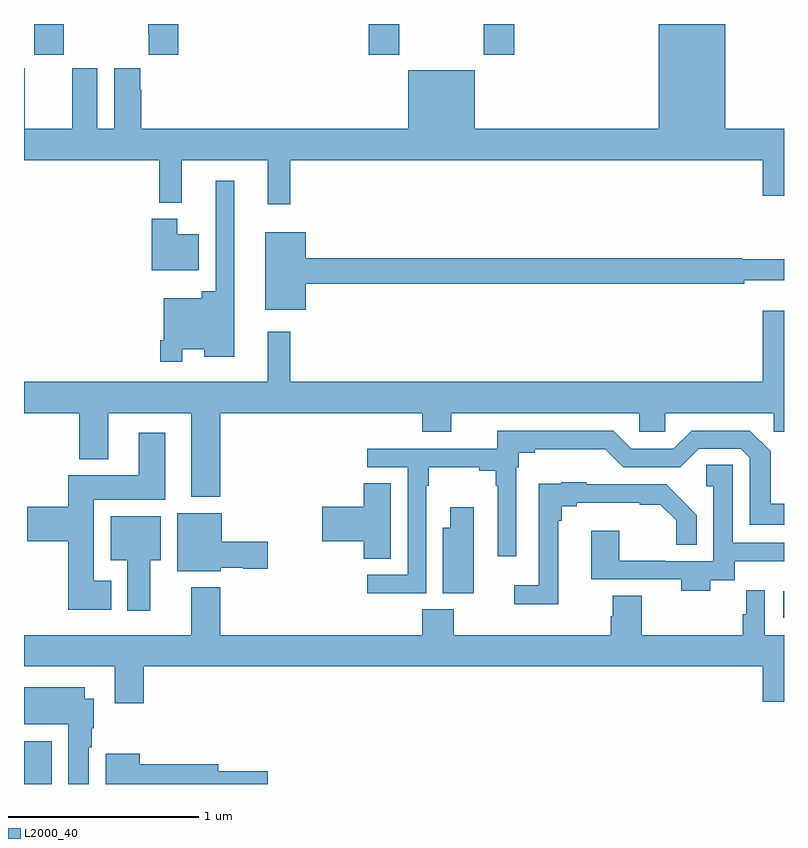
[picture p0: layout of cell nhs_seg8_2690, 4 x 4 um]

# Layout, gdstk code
import gdstk
lib = gdstk.Library(unit=1e-6, precision=1e-09)
def R(c, l, rs):  # rectangles x0, y0, x1, y1
    for r in rs: c.add(gdstk.rectangle(r[:2], r[2:], *l))
def P(c, l, *ps):  # polygons
    for p in ps: c.add(gdstk.Polygon(p, *l))
L2000_40 = (2000, 40)

nhs_seg8_2690 = lib.new_cell('nhs_seg8_2690')
R(nhs_seg8_2690, L2000_40, [(281,1095.9,281.146,1096.126), (284.997,1096.775,285,1096.915), (281.053,1099.737,281.208,1099.9), (282.815,1099.737,282.975,1099.9), (283.42,1099.737,283.58,1099.9)])
P(nhs_seg8_2690, L2000_40, [(281.813,1099.9),(281.653,1099.9),(281.653,1099.849),(281.657,1099.849),(281.657,1099.737),(281.813,1099.737)],
  [(282.401,1099.184),(284.888,1099.184),(284.888,1098.996),(285,1098.996),(285,1099.348),(284.692,1099.348),(284.692,1099.9),(284.342,1099.9),(284.342,1099.348),(283.372,1099.348),(283.372,1099.657),(283.022,1099.657),(283.022,1099.348),(281.618,1099.348),(281.618,1099.553),(281.611,1099.553),(281.611,1099.666),(281.474,1099.666),(281.474,1099.348),(281.386,1099.348),(281.386,1099.666),(281.255,1099.666),(281.255,1099.348),(281.005,1099.348),(281.005,1099.666),(281,1099.666),(281,1099.184),(281.713,1099.184),(281.713,1098.959),(281.831,1098.959),(281.831,1099.184),(282.284,1099.184),(282.284,1098.951),(282.401,1098.951)],
  [(281.832,1098.188),(281.948,1098.188),(281.948,1098.149),(282.106,1098.149),(282.106,1099.075),(282.009,1099.075),(282.009,1098.493),(281.936,1098.493),(281.936,1098.457),(281.736,1098.457),(281.736,1098.235),(281.716,1098.235),(281.716,1098.123),(281.832,1098.123)],
  [(281.92,1098.793),(281.806,1098.793),(281.806,1098.874),(281.672,1098.874),(281.672,1098.605),(281.92,1098.605)],
  [(282.484,1098.532),(284.792,1098.532),(284.792,1098.551),(285,1098.551),(285,1098.661),(284.78,1098.661),(284.78,1098.668),(282.484,1098.668),(282.484,1098.805),(282.269,1098.805),(282.269,1098.395),(282.484,1098.395)],
  [(282.032,1097.852),(283.097,1097.852),(283.097,1097.753),(283.249,1097.753),(283.249,1097.852),(284.238,1097.852),(284.238,1097.754),(284.376,1097.754),(284.376,1097.852),(284.947,1097.852),(284.947,1097.754),(285,1097.754),(285,1098.391),(284.888,1098.391),(284.888,1098.016),(282.401,1098.016),(282.401,1098.28),(282.284,1098.28),(282.284,1098.016),(281,1098.016),(281,1097.852),(281.291,1097.852),(281.291,1097.609),(281.443,1097.609),(281.443,1097.852),(281.879,1097.852),(281.879,1097.411),(282.032,1097.411)],
  [(283.116,1097.471),(283.129,1097.471),(283.129,1097.567),(283.397,1097.567),(283.397,1097.548),(283.482,1097.548),(283.482,1097.471),(283.494,1097.471),(283.494,1097.1),(283.59,1097.1),(283.59,1097.567),(283.603,1097.567),(283.603,1097.644),(283.687,1097.644),(283.687,1097.663),(284.059,1097.663),(284.154,1097.568),(284.454,1097.568),(284.55,1097.664),(284.772,1097.664),(284.82,1097.616),(284.82,1097.265),(285,1097.265),(285,1097.374),(284.929,1097.374),(284.929,1097.651),(284.82,1097.76),(284.514,1097.76),(284.418,1097.664),(284.196,1097.664),(284.1,1097.76),(283.492,1097.76),(283.492,1097.664),(282.807,1097.664),(282.807,1097.568),(283.02,1097.568),(283.02,1097.001),(282.807,1097.001),(282.807,1096.905),(283.116,1096.905)],
  [(281.458,1096.969),(281.368,1096.969),(281.368,1097.396),(281.743,1097.396),(281.743,1097.749),(281.603,1097.749),(281.603,1097.524),(281.234,1097.524),(281.234,1097.36),(281.016,1097.36),(281.016,1097.177),(281.234,1097.177),(281.234,1096.817),(281.458,1096.817)],
  [(284.611,1096.973),(284.74,1096.973),(284.74,1097.072),(285,1097.072),(285,1097.169),(284.731,1097.169),(284.731,1097.471),(284.73,1097.471),(284.73,1097.579),(284.592,1097.579),(284.592,1097.468),(284.627,1097.468),(284.627,1097.073),(284.375,1097.073),(284.375,1097.075),(284.133,1097.075),(284.133,1097.233),(283.985,1097.233),(283.985,1096.977),(284.459,1096.977),(284.459,1096.916),(284.611,1096.916)],
  [(283.813,1097.285),(283.831,1097.285),(283.831,1097.362),(283.909,1097.362),(283.909,1097.381),(284.24,1097.381),(284.24,1097.37),(284.349,1097.37),(284.433,1097.287),(284.433,1097.158),(284.542,1097.158),(284.542,1097.315),(284.458,1097.398),(284.459,1097.399),(284.38,1097.478),(283.959,1097.478),(283.959,1097.488),(283.827,1097.488),(283.827,1097.48),(283.709,1097.48),(283.709,1096.945),(283.581,1096.945),(283.581,1096.847),(283.813,1096.847)],
  [(282.931,1097.483),(282.788,1097.483),(282.788,1097.36),(282.57,1097.36),(282.57,1097.177),(282.788,1097.177),(282.788,1097.086),(282.931,1097.086)],
  [(283.366,1097.356),(283.244,1097.356),(283.244,1097.248),(283.205,1097.248),(283.205,1096.905),(283.366,1096.905)],
  [(282.036,1097.039),(282.153,1097.039),(282.153,1097.032),(282.283,1097.032),(282.283,1097.174),(282.04,1097.174),(282.04,1097.326),(281.807,1097.326),(281.807,1097.021),(282.036,1097.021)],
  [(281.665,1097.078),(281.719,1097.078),(281.719,1097.308),(281.456,1097.308),(281.456,1097.078),(281.543,1097.078),(281.543,1096.812),(281.665,1096.812)],
  [(281.63,1096.52),(284.888,1096.52),(284.888,1096.332),(285,1096.332),(285,1096.684),(284.898,1096.684),(284.898,1096.921),(284.801,1096.921),(284.801,1096.794),(284.782,1096.794),(284.782,1096.684),(284.252,1096.684),(284.252,1096.892),(284.099,1096.892),(284.099,1096.782),(284.087,1096.782),(284.087,1096.684),(283.262,1096.684),(283.262,1096.819),(283.097,1096.819),(283.097,1096.684),(282.032,1096.684),(282.032,1096.936),(281.879,1096.936),(281.879,1096.684),(281,1096.684),(281,1096.52),(281.477,1096.52),(281.477,1096.326),(281.63,1096.326)],
  [(281.341,1096.094),(281.356,1096.094),(281.356,1096.194),(281.368,1096.194),(281.368,1096.348),(281.32,1096.348),(281.32,1096.408),(281,1096.408),(281,1096.214),(281.234,1096.214),(281.234,1095.9),(281.341,1095.9)],
  [(282.283,1095.968),(282.022,1095.968),(282.022,1096.004),(281.608,1096.004),(281.608,1096.06),(281.429,1096.06),(281.429,1095.9),(282.283,1095.9)])

lib.write_gds('nhs_seg8_2690.gds')
